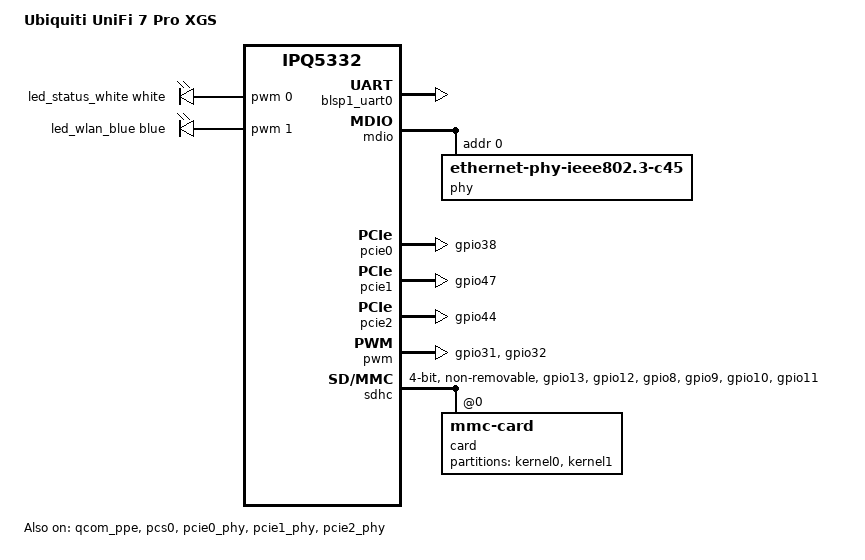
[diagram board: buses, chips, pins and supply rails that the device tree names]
/dts-v1/;

#include <arm64/qcom/ipq5332.dtsi>
#include <dt-bindings/gpio/gpio.h>
#include <dt-bindings/input/input.h>
#include <dt-bindings/leds/common.h>

/ {
	model = "Ubiquiti UniFi 7 Pro XGS";
	compatible = "ubnt,u7-pro-xgs", "qcom,ipq5332";

	aliases {
		serial0 = &blsp1_uart0;
		ethernet1 = &xgmac1;
		led-boot = &led_status_white;
		led-failsafe = &led_status_white;
		led-running = &led_status_white;
		led-upgrade = &led_status_white;
	};

	chosen {
		bootargs = "console=ttyMSM0,115200n8";
		bootargs-append = " root=/dev/fit0 rootwait";
		rootdisk = <&kernel0>;
		stdout-path = "serial0:115200n8";
	};

	pwmleds {
		compatible = "pwm-leds";

		led_status_white: led-0 {
			color = <LED_COLOR_ID_WHITE>;
			function = LED_FUNCTION_STATUS;
			pwms = <&pwm 0 1966050 0>;
			max-brightness = <255>;
		};

		led_wlan_blue: led-1 {
			color = <LED_COLOR_ID_BLUE>;
			function = LED_FUNCTION_WLAN;
			pwms = <&pwm 1 1966050 0>;
			max-brightness = <255>;
		};
	};
};

&blsp1_uart0 {
	pinctrl-0 = <&serial_0_pins>;
	pinctrl-names = "default";
	status = "okay";
};

&sleep_clk {
	clock-frequency = <32000>;
};

&xo_board {
	clock-frequency = <24000000>;
};

&qcom_ppe {
	status = "okay";

	ethernet-ports {
		#address-cells = <1>;
		#size-cells = <0>;

		xgmac1: port@1 {
			reg = <1>;
			phy-mode = "usxgmii";
			managed = "in-band-status";
			label = "lan";
			phy-handle = <&phy>;
			pcs-handle = <&pcs0_ch0>;
			local-mac-address = [00 00 00 00 00 00];
			clocks = <&nsscc NSS_CC_PORT1_MAC_CLK>,
				 <&nsscc NSS_CC_PORT1_RX_CLK>,
				 <&nsscc NSS_CC_PORT1_TX_CLK>;
			clock-names = "mac",
				      "rx",
				      "tx";
			resets = <&nsscc NSS_CC_PORT1_MAC_CLK_ARES>,
				 <&nsscc NSS_CC_PORT1_RX_CLK_ARES>,
				 <&nsscc NSS_CC_PORT1_TX_CLK_ARES>;
			reset-names = "mac",
				      "rx",
				      "tx";
		};
	};
};

&pcs0 {
	status = "okay";
};

&mdio {
	status = "okay";
	phy-reset-gpio = <&tlmm 25 GPIO_ACTIVE_LOW>;

	phy: ethernet-phy@0 {
		compatible = "ethernet-phy-ieee802.3-c45";
		reg = <0x00>;
	};
};

&pcie0 {
	status = "okay";

	perst-gpio = <&tlmm 38 GPIO_ACTIVE_LOW>;
	wake-gpios = <&tlmm 39 GPIO_ACTIVE_LOW>;
	pinctrl-names = "default";
	pinctrl-0 = <&pcie0_pins>;
};

&pcie1 {
	status = "okay";

	perst-gpio = <&tlmm 47 GPIO_ACTIVE_LOW>;
	wake-gpios = <&tlmm 48 GPIO_ACTIVE_LOW>;
	pinctrl-names = "default";
	pinctrl-0 = <&pcie1_pins>;

	pcie@0 {
		wifi@0,0 {
			reg = <0x00010000 0 0 0 0>;
			board_id = <21>;
		};
	};
};

&pcie2 {
	status = "okay";

	perst-gpio = <&tlmm 44 GPIO_ACTIVE_LOW>;
	wake-gpios = <&tlmm 45 GPIO_ACTIVE_LOW>;
	pinctrl-names = "default";
	pinctrl-0 = <&pcie2_pins>;

	pcie@0 {
		wifi@0,0 {
			reg = <0x00010000 0 0 0 0>;
			board_id = <4101>;
		};
	};
};

&pcie0_phy {
	status = "okay";
};

&pcie1_phy {
	reg = <0x004b1000 0x800>;
	num-lanes = <1>;

	phy-ahb-shared-reset;
	qti,multiplexed-phy;
	qti,phy-mux-regs = <&tcsr 0x10544>;

	status = "okay";
};

&pcie2_phy {
	phy-ahb-shared-reset;
	qti,multiplexed-phy;
	qti,phy-mux-regs = <&tcsr 0x10544>;

	status = "okay";
};

&pwm {
	pinctrl-names = "default";
	pinctrl-0 = <&pwm_pins>;
	status = "okay";
};

&sdhc {
	#address-cells = <1>;
	#size-cells = <0>;
	bus-width = <4>;
	max-frequency = <192000000>;
	mmc-ddr-1_8v;
	mmc-hs200-1_8v;
	non-removable;
	pinctrl-0 = <&sdc_default_state>;
	pinctrl-names = "default";
	status = "okay";

	card@0 {
		compatible = "mmc-card";
		reg = <0>;

		block {
			compatible = "block-device";

			partitions {
				kernel0: block-partition-kernel0 {
					partname = "kernel0";
				};

				kernel1: block-partition-kernel1 {
					partname = "kernel1";
				};
			};
		};
	};
};

&tlmm {
	pcie0_pins: pci0-pinmux {
		pins = "gpio38";
		function = "gpio";
		drive-strength = <8>;
		bias-pull-up;
		output-high;
	};

	pcie1_pins: pci1-pinmux {
		pins = "gpio47";
		function = "gpio";
		drive-strength = <8>;
		bias-pull-up;
		output-high;
	};

	pcie2_pins: pci2-pinmux {
		pins = "gpio44";
		function = "gpio";
		drive-strength = <8>;
		bias-pull-up;
		output-high;
	};

	pwm_pins: pwm_pinmux {
		pins = "gpio31", "gpio32";
		function = "pwm1";
		drive-strength = <8>;
	};

	sdc_default_state: sdc-default-state {
		clk-pins {
			pins = "gpio13";
			function = "sdc_clk";
			drive-strength = <8>;
			bias-disable;
		};

		cmd-pins {
			pins = "gpio12";
			function = "sdc_cmd";
			drive-strength = <8>;
			bias-pull-up;
		};

		data-pins {
			pins = "gpio8", "gpio9", "gpio10", "gpio11";
			function = "sdc_data";
			drive-strength = <8>;
			bias-pull-up;
		};
	};
};
